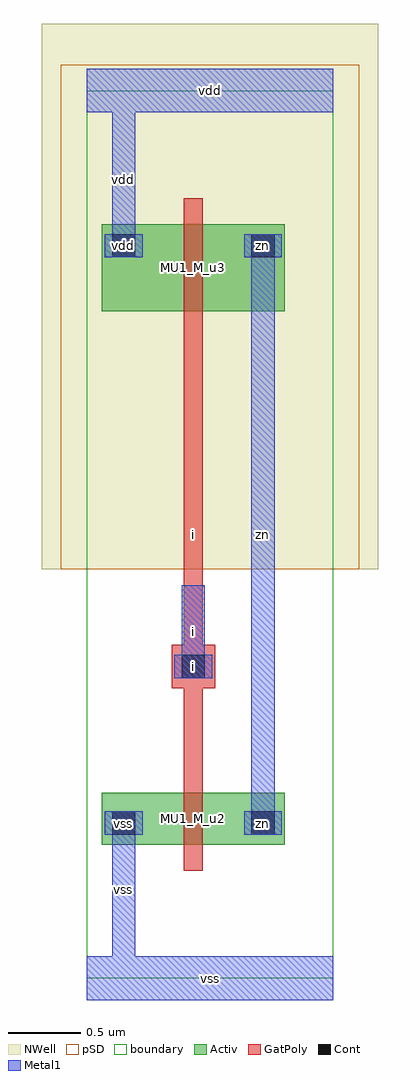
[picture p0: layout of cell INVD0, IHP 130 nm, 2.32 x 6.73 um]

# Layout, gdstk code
import gdstk
lib = gdstk.Library(unit=1e-6, precision=1e-09)
def R(c, l, rs):  # rectangles x0, y0, x1, y1
    for r in rs: c.add(gdstk.rectangle(r[:2], r[2:], *l))
Activ = (1, 0)
GatPoly = (5, 0)
Cont = (6, 0)
Metal1 = (8, 0)
pSD = (14, 0)
NWell = (31, 0)
TEXT = (63, 0)
boundary = (189, 4)

invd0 = lib.new_cell('INVD0')
R(invd0, Activ, [(0.105,0.92,1.365,1.28), (0.105,0.92,0.405,1.22), (1.065,0.92,1.365,1.22), (0.105,4.6,1.365,5.2), (0.105,4.9,0.405,5.2), (1.065,4.9,1.365,5.2)])
R(invd0, GatPoly, [(0.67,0.74,0.8,1.46), (0.67,1.005,0.8,5.115), (0.585,2,0.885,2.3), (0.67,4.42,0.8,5.38)])
R(invd0, Cont, [(0.175,0.99,0.335,1.15), (1.135,0.99,1.295,1.15), (0.655,2.07,0.815,2.23), (0.175,4.97,0.335,5.13), (1.135,4.97,1.295,5.13)])
R(invd0, Metal1, [(0,-0.15,1.7,0.15), (0.175,0.07,0.335,1.15), (0.125,0.99,0.385,1.15), (1.085,0.99,1.345,1.15), (1.135,0.99,1.295,5.13), (0.605,2.07,0.865,2.23), (0.655,2.07,0.815,2.71), (0.125,4.97,0.385,5.13), (0.175,4.97,0.335,6.05), (1.085,4.97,1.345,5.13), (0,5.97,1.7,6.27)])
R(invd0, pSD, [(-0.18,2.82,1.88,5.94), (-0.18,5.94,1.88,6.3)])
R(invd0, NWell, [(-0.31,2.82,2.01,6.58)])
R(invd0, boundary, [(0,0,1.7,6.12)])
invd0.add(gdstk.FlexPath([(0.105,0.41),(1.365,0.41)], 0, ends="flush", simple_path=True, layer=63, datatype=0))  # TEXT
invd0.add(gdstk.FlexPath([(0.105,1.07),(1.365,1.07)], 0, ends="flush", simple_path=True, layer=63, datatype=0))  # TEXT
invd0.add(gdstk.FlexPath([(0.105,1.49),(1.365,1.49)], 0, ends="flush", simple_path=True, layer=63, datatype=0))  # TEXT
invd0.add(gdstk.FlexPath([(0.105,2.15),(1.365,2.15)], 0, ends="flush", simple_path=True, layer=63, datatype=0))  # TEXT
invd0.add(gdstk.FlexPath([(0.105,2.63),(1.365,2.63)], 0, ends="flush", simple_path=True, layer=63, datatype=0))  # TEXT
invd0.add(gdstk.FlexPath([(0.105,3.11),(1.365,3.11)], 0, ends="flush", simple_path=True, layer=63, datatype=0))  # TEXT
invd0.add(gdstk.FlexPath([(0.105,4.15),(1.365,4.15)], 0, ends="flush", simple_path=True, layer=63, datatype=0))  # TEXT
invd0.add(gdstk.FlexPath([(0.105,4.71),(1.365,4.71)], 0, ends="flush", simple_path=True, layer=63, datatype=0))  # TEXT
invd0.add(gdstk.FlexPath([(0.105,5.05),(1.365,5.05)], 0, ends="flush", simple_path=True, layer=63, datatype=0))  # TEXT
invd0.add(gdstk.FlexPath([(0.105,5.71),(1.365,5.71)], 0, ends="flush", simple_path=True, layer=63, datatype=0))  # TEXT
invd0.add(gdstk.FlexPath([(0.255,0.07),(0.255,6.05)], 0, ends="flush", simple_path=True, layer=63, datatype=0))  # TEXT
invd0.add(gdstk.FlexPath([(0.735,0.07),(0.735,6.05)], 0, ends="flush", simple_path=True, layer=63, datatype=0))  # TEXT
invd0.add(gdstk.FlexPath([(1.215,0.07),(1.215,6.05)], 0, ends="flush", simple_path=True, layer=63, datatype=0))  # TEXT
invd0.add(gdstk.Label('zn', (1.215,1.07), layer=6, texttype=0))
invd0.add(gdstk.Label('zn', (1.215,5.05), layer=6, texttype=0))
invd0.add(gdstk.Label('i', (0.735,2.15), layer=6, texttype=0))
invd0.add(gdstk.Label('vss', (0.255,1.07), layer=6, texttype=0))
invd0.add(gdstk.Label('vdd', (0.255,5.05), layer=6, texttype=0))
invd0.add(gdstk.Label('vss', (0.255,1.07), layer=8, texttype=0))
invd0.add(gdstk.Label('vss', (0.255,0.61), layer=8, texttype=0))
invd0.add(gdstk.Label('vdd', (0.255,5.05), layer=8, texttype=0))
invd0.add(gdstk.Label('vdd', (0.255,5.51), layer=8, texttype=0))
invd0.add(gdstk.Label('zn', (1.215,1.07), layer=8, texttype=2))
invd0.add(gdstk.Label('zn', (1.215,5.05), layer=8, texttype=2))
invd0.add(gdstk.Label('zn', (1.215,3.06), layer=8, texttype=2))
invd0.add(gdstk.Label('i', (0.735,2.15), layer=8, texttype=2))
invd0.add(gdstk.Label('i', (0.735,2.39), layer=8, texttype=2))
invd0.add(gdstk.Label('vss', (0.85,0), layer=8, texttype=2))
invd0.add(gdstk.Label('vdd', (0.85,6.12), layer=8, texttype=2))
invd0.add(gdstk.Label('zn', (1.215,1.07), layer=8, texttype=2))
invd0.add(gdstk.Label('zn', (1.215,5.05), layer=8, texttype=2))
invd0.add(gdstk.Label('zn', (1.215,3.06), layer=8, texttype=2))
invd0.add(gdstk.Label('i', (0.735,2.15), layer=8, texttype=2))
invd0.add(gdstk.Label('i', (0.735,2.39), layer=8, texttype=2))
invd0.add(gdstk.Label('vss', (0.85,0), layer=8, texttype=2))
invd0.add(gdstk.Label('vdd', (0.85,6.12), layer=8, texttype=2))
invd0.add(gdstk.Label('MU1_M_u2', (0.735,1.1), layer=1, texttype=0))
invd0.add(gdstk.Label('MU1_M_u3', (0.735,4.9), layer=1, texttype=0))
invd0.add(gdstk.Label('zn', (1.215,1.07), layer=1, texttype=0))
invd0.add(gdstk.Label('zn', (1.215,5.05), layer=1, texttype=0))
invd0.add(gdstk.Label('vss', (0.255,1.07), layer=1, texttype=0))
invd0.add(gdstk.Label('vdd', (0.255,5.05), layer=1, texttype=0))
invd0.add(gdstk.Label('zn', (1.215,1.07), layer=8, texttype=25))
invd0.add(gdstk.Label('zn', (1.215,5.05), layer=8, texttype=25))
invd0.add(gdstk.Label('zn', (1.215,3.06), layer=8, texttype=25))
invd0.add(gdstk.Label('i', (0.735,2.15), layer=8, texttype=25))
invd0.add(gdstk.Label('i', (0.735,2.39), layer=8, texttype=25))
invd0.add(gdstk.Label('vss', (0.85,0), layer=8, texttype=25))
invd0.add(gdstk.Label('vdd', (0.85,6.12), layer=8, texttype=25))
invd0.add(gdstk.Label('i', (0.735,3.06), layer=5, texttype=0))
invd0.add(gdstk.Label('i', (0.735,2.15), layer=5, texttype=0))

lib.write_gds('INVD0.gds')
